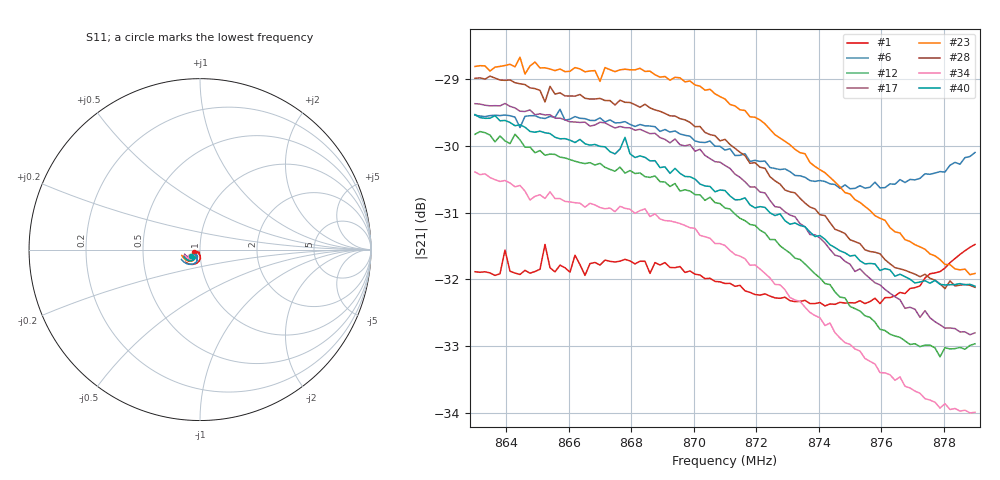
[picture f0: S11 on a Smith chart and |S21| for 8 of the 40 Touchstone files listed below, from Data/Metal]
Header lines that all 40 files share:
# HZ S RI R 50
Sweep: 863 MHz to 879 MHz
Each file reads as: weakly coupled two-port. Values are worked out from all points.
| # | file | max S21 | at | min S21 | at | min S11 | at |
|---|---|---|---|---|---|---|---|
| 1 | mo6s0.s2p | -31.48 dB | 879 MHz | -32.4 dB | 874.2 MHz | -36.6 dB | 865.24 MHz |
| 2 | mo6s1.s2p | -30.98 dB | 864.28 MHz | -33.3 dB | 875.96 MHz | -29.8 dB | 864.28 MHz |
| 3 | mo6s2.s2p | -31.31 dB | 863.64 MHz | -33.2 dB | 876.44 MHz | -31.5 dB | 866.04 MHz |
| 4 | mo6s5.s2p | -29.64 dB | 866.36 MHz | -32.4 dB | 876.76 MHz | -27.2 dB | 865.4 MHz |
| 5 | mo6s6.s2p | -30.55 dB | 863.64 MHz | -32.2 dB | 875.48 MHz | -27.9 dB | 865.24 MHz |
| 6 | mo6s7.s2p | -29.46 dB | 865.72 MHz | -30.6 dB | 875 MHz | -26.4 dB | 863.96 MHz |
| 7 | mo6s8.s2p | -30.38 dB | 864.44 MHz | -31.5 dB | 875.96 MHz | -26.3 dB | 864.44 MHz |
| 8 | mo6s10.s2p | -29.96 dB | 863.64 MHz | -32.7 dB | 876.76 MHz | -25.6 dB | 865.24 MHz |
| 9 | mo6s12.s2p | -30.56 dB | 863.96 MHz | -32.9 dB | 876.76 MHz | -28.1 dB | 864.92 MHz |
| 10 | mo6s13.s2p | -32.70 dB | 863 MHz | -35.6 dB | 874.84 MHz | -31.9 dB | 867 MHz |
| 11 | mo7s0.s2p | -29.83 dB | 863.96 MHz | -33.1 dB | 878.52 MHz | -24.2 dB | 867.96 MHz |
| 12 | mo7s2.s2p | -29.79 dB | 863.16 MHz | -33.2 dB | 877.88 MHz | -26.0 dB | 866.04 MHz |
| 13 | mo7s3.s2p | -28.84 dB | 863.96 MHz | -32.6 dB | 878.84 MHz | -24.4 dB | 867.96 MHz |
| 14 | mo7s4.s2p | -29.39 dB | 864.44 MHz | -33.4 dB | 878.52 MHz | -24.5 dB | 864.44 MHz |
| 15 | mo7s8.s2p | -29.92 dB | 863.96 MHz | -33.2 dB | 878.2 MHz | -25.8 dB | 867.8 MHz |
| 16 | mo7s9.s2p | -30.01 dB | 863 MHz | -32.7 dB | 878.68 MHz | -25.6 dB | 866.52 MHz |
| 17 | mo7s10.s2p | -29.37 dB | 863.96 MHz | -32.8 dB | 878.84 MHz | -24.3 dB | 867.8 MHz |
| 18 | mo7s11.s2p | -29.60 dB | 864.12 MHz | -32.4 dB | 878.04 MHz | -25.3 dB | 865.4 MHz |
| 19 | mo8s0.s2p | -28.44 dB | 863.96 MHz | -31.3 dB | 879 MHz | -23.9 dB | 865.4 MHz |
| 20 | mo8s1.s2p | -28.85 dB | 864.12 MHz | -32.5 dB | 878.68 MHz | -24.9 dB | 865.4 MHz |
| 21 | mo8s2.s2p | -28.67 dB | 865.24 MHz | -31.8 dB | 878.84 MHz | -24.5 dB | 865.24 MHz |
| 22 | mo8s3.s2p | -28.80 dB | 864.12 MHz | -31.9 dB | 878.84 MHz | -24.2 dB | 865.24 MHz |
| 23 | mo8s6.s2p | -28.68 dB | 864.44 MHz | -31.9 dB | 878.84 MHz | -24.0 dB | 864.44 MHz |
| 24 | mo8s7.s2p | -28.70 dB | 863 MHz | -31.8 dB | 879 MHz | -24.4 dB | 866.04 MHz |
| 25 | mo8s8.s2p | -28.43 dB | 867.16 MHz | -31.5 dB | 878.84 MHz | -24.3 dB | 865.4 MHz |
| 26 | mo8s9.s2p | -29.10 dB | 863 MHz | -31.6 dB | 878.36 MHz | -24.9 dB | 866.36 MHz |
| 27 | mo9s2.s2p | -29.28 dB | 863.32 MHz | -31.8 dB | 878.04 MHz | -25.7 dB | 865.56 MHz |
| 28 | mo9s3.s2p | -28.96 dB | 863.48 MHz | -32.1 dB | 878.04 MHz | -25.2 dB | 866.04 MHz |
| 29 | mo9s4.s2p | -29.27 dB | 864.12 MHz | -32.5 dB | 878.04 MHz | -25.1 dB | 866.04 MHz |
| 30 | mo9s5.s2p | -29.49 dB | 863.16 MHz | -32.5 dB | 878.04 MHz | -25.0 dB | 867 MHz |
| 31 | mo9s6.s2p | -28.82 dB | 863 MHz | -32.4 dB | 879 MHz | -25.3 dB | 866.68 MHz |
| 32 | mo9s7.s2p | -29.29 dB | 863.16 MHz | -31.7 dB | 878.68 MHz | -25.4 dB | 865.24 MHz |
| 33 | mo9s8.s2p | -31.82 dB | 863 MHz | -34.2 dB | 876.44 MHz | -30.4 dB | 865.88 MHz |
| 34 | mo10s0.s2p | -30.39 dB | 863 MHz | -34.0 dB | 878.84 MHz | -25.7 dB | 867 MHz |
| 35 | mo10s1.s2p | -29.31 dB | 863.16 MHz | -32.6 dB | 878.84 MHz | -24.8 dB | 866.68 MHz |
| 36 | mo10s2.s2p | -30.52 dB | 863.16 MHz | -33.6 dB | 877.88 MHz | -28.4 dB | 867.8 MHz |
| 37 | mo10s3.s2p | -30.48 dB | 863.16 MHz | -34.7 dB | 877.88 MHz | -27.4 dB | 867.8 MHz |
| 38 | mo10s4.s2p | -29.40 dB | 863.64 MHz | -32.1 dB | 877.88 MHz | -25.5 dB | 866.04 MHz |
| 39 | mo10s6.s2p | -30.16 dB | 863.16 MHz | -31.6 dB | 876.92 MHz | -27.2 dB | 864.76 MHz |
| 40 | mo10s8.s2p | -29.53 dB | 863 MHz | -32.1 dB | 879 MHz | -25.3 dB | 866.04 MHz |
